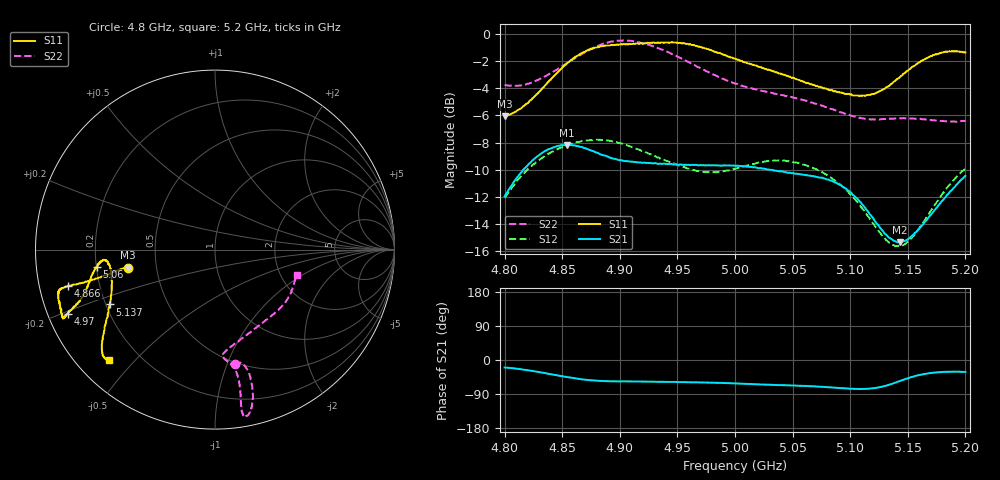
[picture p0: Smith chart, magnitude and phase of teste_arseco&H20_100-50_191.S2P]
! Network Analyzer HP8722D
! Hewlett-Packard
! Data name: Linha & Wilkinson
! Saver's name: Rodrigo Anjos
! Comments: Teste da utilização de aquisição
! continua pelo VNA HP8722D
! Time and date: 6/5/2025 14:09
!  Frequency  S11  S21  S12  S22
# HZ  S  MA R 50
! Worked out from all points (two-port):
!   401 points, 4.8 GHz to 5.2 GHz, reference 50 ohm
!   highest |S21| = -8.17 dB at 4.854 GHz (marker M1); lowest = -15.3 dB at 5.143 GHz (marker M2)
!   |S21| within 3 dB of the highest: 4.806 GHz to 5.092 GHz (286.5 MHz wide, 5.79 % of centre); 5.191556 GHz to end of sweep
!   lowest |S11| = -6.1 dB at 4.8 GHz (marker M3), VSWR 2.98, Z = 16.9 - j4.55 ohm
!   |S11| at or under -10 dB: nowhere
!   |S22| runs from -6.5 to -0.5 dB; largest |S21 - S12| = 0.62
!   S11 on the Smith chart (normalised r, x): 4.8 GHz: 0.34, -0.09; 4.866 GHz: 0.09, -0.12; 4.97 GHz: 0.06, -0.21; 5.06 GHz: 0.20, -0.07; 5.137 GHz: 0.22, -0.23; 5.2 GHz: 0.09, -0.42
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4.8e9  0.4976 -168.3  0.2528 -19.8  0.2495 -141.0  0.6483 -80.3
4.828e9  0.6009 -167.2  0.3536 -30.8  0.3381 -145.0  0.6747 -75.5
4.854e9  0.7768 -166.0  0.3904 -45.2  0.3892 -150.0  0.7785 -74.8
4.866e9  0.8449 -166.1  0.3839 -50.4  0.4017 -152.0  0.8364 -75.4
4.867e9  0.8491 -166.0  0.384 -51.0  0.4032 -152.2  0.8431 -75.4
4.898e9  0.9124 -163.0  0.345 -56.4  0.3981 -156.5  0.9428 -79.0
4.915e9  0.9219 -159.5  0.3367 -56.8  0.3773 -157.3  0.9337 -80.4
4.934e9  0.9274 -156.5  0.3328 -57.6  0.351 -155.8  0.8827 -80.5
4.97e9  0.894 -156.4  0.3295 -59.2  0.3121 -147.1  0.7476 -79.7
5e9  0.8101 -159.2  0.3274 -61.8  0.3196 -137.3  0.6562 -81.3
5.038e9  0.7152 -166.2  0.3123 -66.1  0.343 -134.6  0.5989 -85.8
5.06e9  0.6652 -171.8  0.303 -68.3  0.33 -136.2  0.5703 -84.3
5.067e9  0.6511 -173.2  0.3001 -69.3  0.3225 -136.9  0.5586 -82.6
5.086e9  0.6138 -174.6  0.2849 -73.0  0.2908 -138.5  0.5251 -75.3
5.102e9  0.5932 -171.8  0.2567 -75.9  0.2527 -138.8  0.4991 -65.9
5.115e9  0.5952 -166.0  0.2236 -75.9  0.2148 -135.9  0.4861 -56.4
5.134e9  0.6453 -154.4  0.1777 -65.0  0.1706 -120.6  0.4874 -43.3
5.137e9  0.6603 -152.4  0.1745 -62.2  0.1676 -116.7  0.4877 -41.4
5.143e9  0.6928 -149.4  0.1712 -55.7  0.166 -108.9  0.4889 -38.0
5.154e9  0.7562 -144.4  0.1814 -44.5  0.1793 -94.9  0.488 -32.3
5.172e9  0.8354 -139.0  0.2213 -33.7  0.2302 -81.3  0.4812 -24.6
5.2e9  0.8534 -133.8  0.3006 -31.5  0.3195 -77.0  0.4778 -17.6
